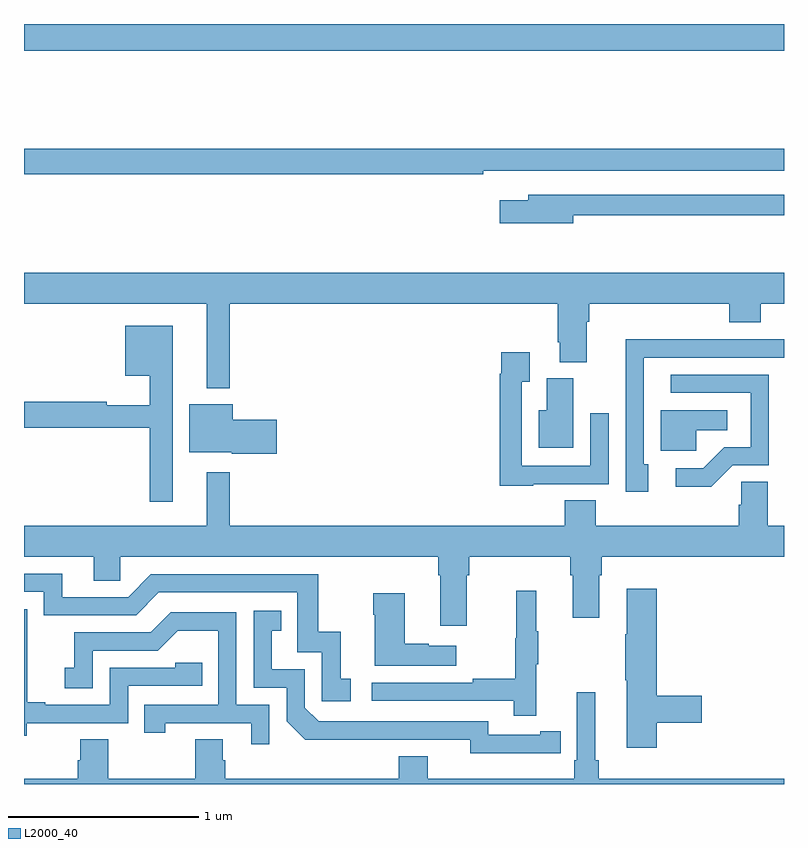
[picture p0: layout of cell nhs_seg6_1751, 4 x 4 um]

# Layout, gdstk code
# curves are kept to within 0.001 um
import gdstk
lib = gdstk.Library(unit=1e-6, precision=1e-09)
def R(c, l, rs):  # rectangles x0, y0, x1, y1
    for r in rs: c.add(gdstk.rectangle(r[:2], r[2:], *l))
def P(c, l, *ps):  # polygons
    for p in ps: c.add(gdstk.Polygon(p, *l))
L2000_40 = (2000, 40)

nhs_seg6_1751 = lib.new_cell('nhs_seg6_1751')
R(nhs_seg6_1751, L2000_40, [(217,923.36,221,923.5)])
P(nhs_seg6_1751, L2000_40, [(219.416,922.728),(221,922.728),(221,922.844),(217,922.844),(217,922.708),(219.416,922.708)],
  [(219.892,922.494),(221,922.494),(221,922.602),(219.653,922.602),(219.653,922.573),(219.504,922.573),(219.504,922.451),(219.892,922.451)],
  [(218.083,922.028),(219.809,922.028),(219.809,921.826),(219.821,921.826),(219.821,921.721),(219.961,921.721),(219.961,921.932),(219.974,921.932),(219.974,922.028),(220.712,922.028),(220.712,921.929),(220.877,921.929),(220.877,922.028),(221,922.028),(221,922.192),(217,922.192),(217,922.028),(217.961,922.028),(217.961,921.584),(218.083,921.584)],
  [(217.783,921.913),(217.532,921.913),(217.532,921.65),(217.662,921.65),(217.662,921.493),(217.436,921.493),(217.436,921.512),(217,921.512),(217,921.376),(217.662,921.376),(217.662,920.985),(217.783,920.985)],
  [(220.285,921.183),(220.263,921.183),(220.263,921.744),(221,921.744),(221,921.84),(220.628,921.84),(220.628,921.842),(220.166,921.842),(220.166,921.538),(220.167,921.538),(220.167,921.039),(220.285,921.039)],
  [(219.681,921.078),(220.077,921.078),(220.077,921.451),(219.981,921.451),(219.981,921.174),(219.621,921.174),(219.621,921.616),(219.661,921.616),(219.661,921.772),(219.513,921.772),(219.513,921.659),(219.505,921.659),(219.505,921.071),(219.681,921.071)],
  [(220.731,921.177),(220.92,921.177),(220.92,921.654),(220.404,921.654),(220.404,921.558),(220.824,921.558),(220.824,921.273),(220.686,921.273),(220.575,921.162),(220.431,921.162),(220.431,921.065),(220.618,921.065)],
  [(219.892,921.636),(219.752,921.636),(219.752,921.466),(219.71,921.466),(219.71,921.269),(219.892,921.269)],
  [(218.329,921.416),(218.098,921.416),(218.098,921.499),(217.871,921.499),(217.871,921.245),(218.094,921.245),(218.094,921.238),(218.329,921.238)],
  [(220.539,921.362),(220.702,921.362),(220.702,921.466),(220.352,921.466),(220.352,921.255),(220.539,921.255)],
  [(219.331,920.6),(219.344,920.6),(219.344,920.696),(219.875,920.696),(219.875,920.6),(219.887,920.6),(219.887,920.376),(220.027,920.376),(220.027,920.6),(220.04,920.6),(220.04,920.696),(221,920.696),(221,920.86),(220.915,920.86),(220.915,921.092),(220.776,921.092),(220.776,920.969),(220.763,920.969),(220.763,920.86),(220.01,920.86),(220.01,920.993),(219.845,920.993),(219.845,920.86),(218.083,920.86),(218.083,921.142),(217.961,921.142),(217.961,920.86),(217,920.86),(217,920.696),(217.367,920.696),(217.367,920.569),(217.506,920.569),(217.506,920.696),(219.179,920.696),(219.179,920.6),(219.191,920.6),(219.191,920.334),(219.331,920.334)],
  [(218.719,920.055),(218.666,920.055),(218.666,920.302),(218.548,920.302),(218.548,920.604),(217.668,920.604),(217.548,920.484),(217.201,920.484),(217.201,920.607),(217,920.607),(217,920.511),(217.104,920.511),(217.104,920.388),(217.59,920.388),(217.71,920.508),(218.439,920.508),(218.439,920.193),(218.568,920.193),(218.568,919.935),(218.719,919.935)],
  [(220.331,919.822),(220.567,919.822),(220.567,919.964),(220.331,919.964),(220.331,920.527),(220.172,920.527),(220.172,920.288),(220.165,920.288),(220.165,920.047),(220.172,920.047),(220.172,919.692),(220.331,919.692)],
  [(219.695,920.131),(219.706,920.131),(219.706,920.305),(219.695,920.305),(219.695,920.518),(219.592,920.518),(219.592,920.268),(219.585,920.268),(219.585,920.054),(219.361,920.054),(219.361,920.034),(218.829,920.034),(218.829,919.938),(219.577,919.938),(219.577,919.86),(219.695,919.86)],
  [(219.274,920.227),(219.131,920.227),(219.131,920.237),(219.004,920.237),(219.004,920.503),(218.839,920.503),(218.839,920.39),(218.846,920.39),(218.846,920.123),(219.274,920.123)],
  [(217.014,919.821),(217.548,919.821),(217.548,920.016),(217.937,920.016),(217.937,920.139),(217.797,920.139),(217.797,920.112),(217.452,920.112),(217.452,919.917),(217.111,919.917),(217.111,919.93),(217.016,919.93),(217.016,920.213),(217.017,920.213),(217.017,920.419),(217,920.419),(217,919.753),(217.014,919.753)],
  [(219.716,919.662),(219.824,919.662),(219.824,919.778),(219.716,919.778),(219.716,919.758),(219.444,919.758),(219.444,919.83),(218.55,919.83),(218.478,919.902),(218.478,920.103),(218.305,920.103),(218.305,920.307),(218.354,920.307),(218.354,920.413),(218.208,920.413),(218.208,920.007),(218.382,920.007),(218.382,919.83),(218.48,919.733),(219.348,919.734),(219.348,919.661)],
  [(218.292,919.917),(218.118,919.917),(218.118,920.403),(217.772,920.403),(217.667,920.298),(217.264,920.298),(217.264,920.113),(217.215,920.113),(217.215,920.004),(217.362,920.004),(217.362,920.202),(217.704,920.202),(217.808,920.306),(218.022,920.306),(218.022,919.917),(217.633,919.917),(217.633,919.77),(217.744,919.77),(217.744,919.821),(218.195,919.821),(218.195,919.71),(218.292,919.71)],
  [(218.972,919.645),(218.972,919.528),(218.06,919.528),(218.06,919.626),(218.047,919.626),(218.047,919.736),(217.9,919.736),(217.9,919.528),(217.443,919.528),(217.443,919.736),(217.295,919.736),(217.295,919.626),(217.283,919.626),(217.283,919.528),(217,919.528),(217,919.5),(221,919.5),(221,919.528),(220.025,919.528),(220.025,919.624),(220.006,919.624),(220.006,919.984),(219.909,919.984),(219.909,919.624),(219.896,919.624),(219.896,919.528),(219.124,919.528),(219.124,919.645)])

lib.write_gds('nhs_seg6_1751.gds')
